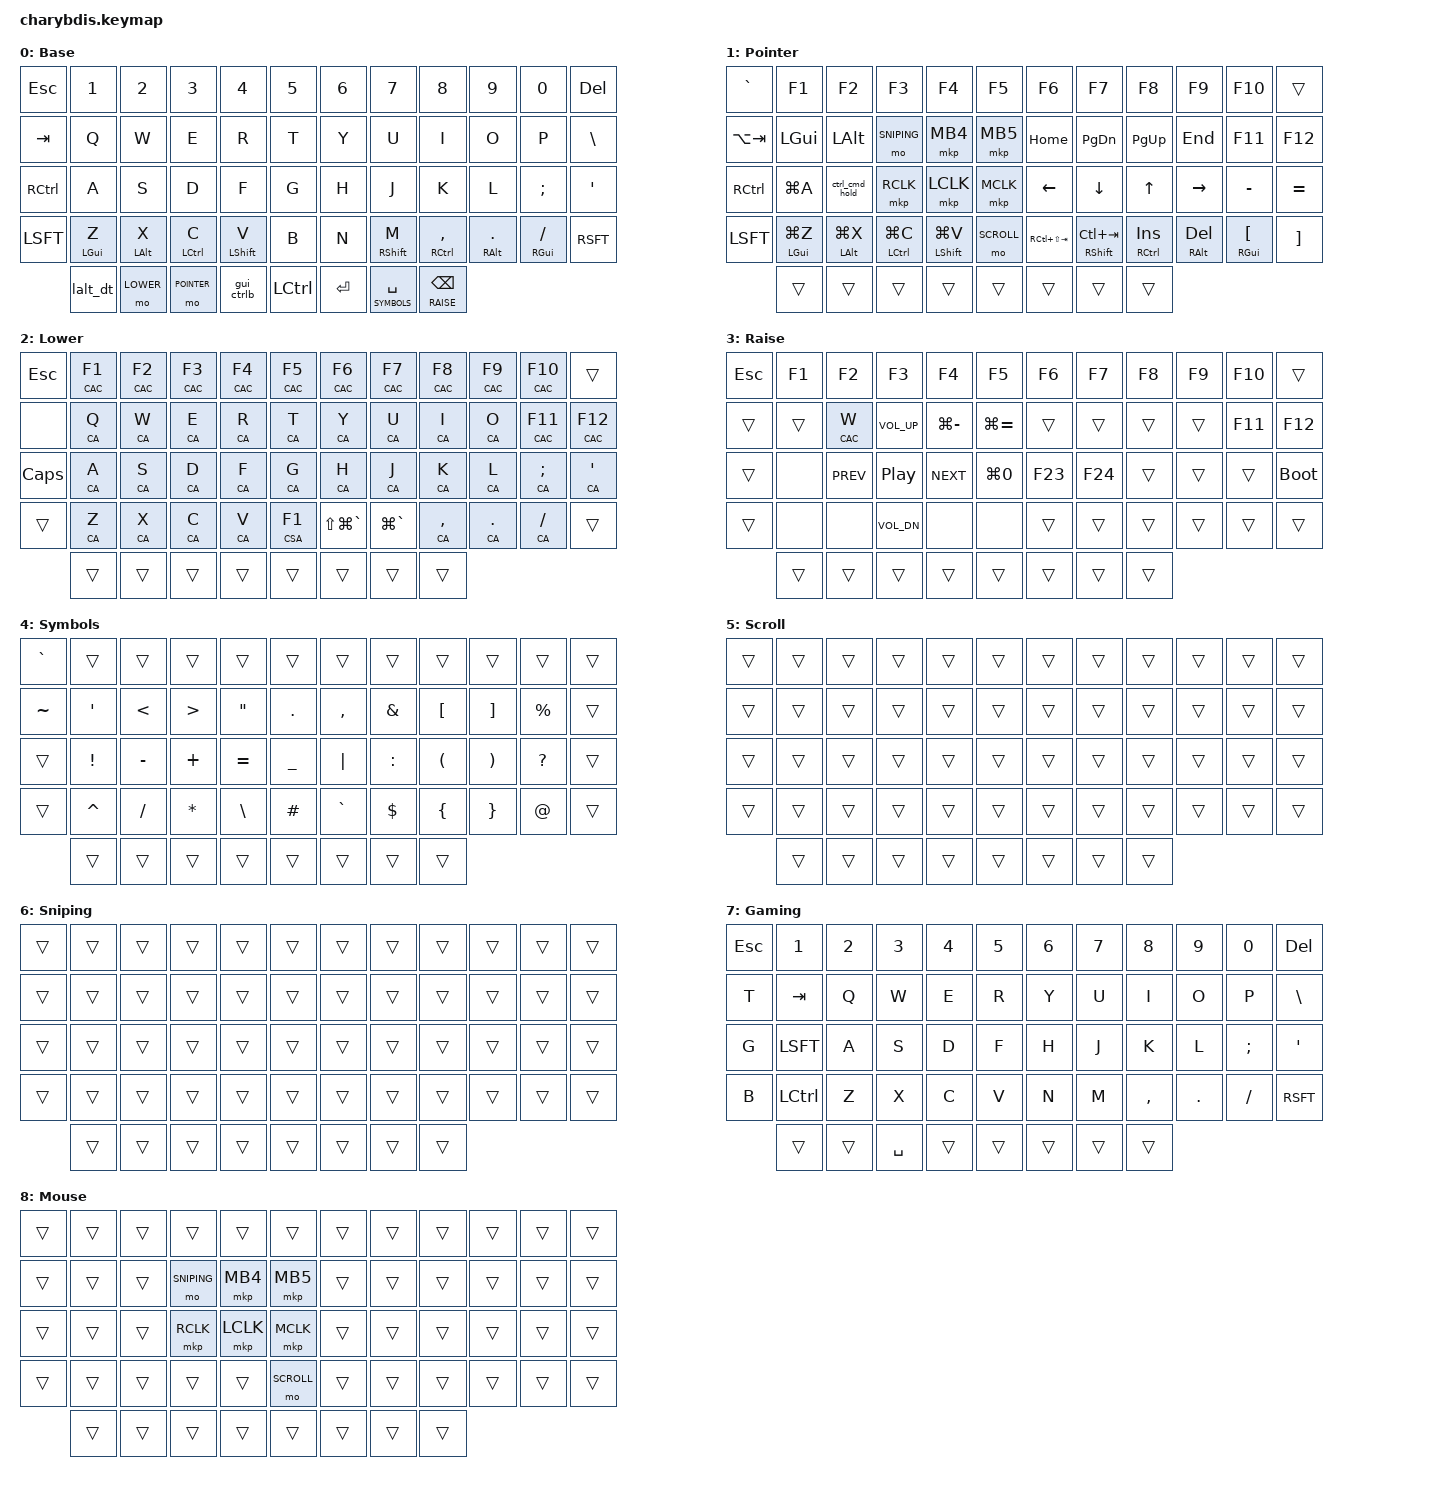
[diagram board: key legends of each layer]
#include <behaviors/mouse_keys.dtsi>
#include <behaviors.dtsi>
#include <dt-bindings/zmk/bt.h>
#include <dt-bindings/zmk/keys.h>
#include <dt-bindings/zmk/modifiers.h>
#include <dt-bindings/zmk/outputs.h>
#include <dt-bindings/zmk/pointing.h>

/ {
    chosen { zmk,physical-layout = &charybdis_6col_layout; };
};

&mt {
    quick-tap-ms = <200>;
    flavor = "tap-preferred";
    tapping-term-ms = <170>;
};

&lt {
    quick-tap-ms = <200>;
    flavor = "tap-preferred";
    tapping-term-ms = <170>;
};

// Layer definitions
#define BASE 0
#define POINTER 1
#define LOWER 2
#define RAISE 3
#define SYMBOLS 4
#define SCROLL 5
#define SNIPING 6
#define GAMING 7
#define AUTOMOUSE 8

/ {
  behaviors {
    // Hold-tap behavior for layer with tap-preferred
    blt: blt {
      compatible = "zmk,behavior-hold-tap";
      #binding-cells = <2>;
      flavor = "tap-preferred";
      tapping-term-ms = <200>;
      quick-tap-ms = <300>;
      require-prior-idle-ms = <100>;
      bindings = <&mo>, <&kp>;
    };

    // Tap-dance for GUI/Ctrl+B
    gui_ctrlb: gui_ctrlb {
      compatible = "zmk,behavior-tap-dance";
      #binding-cells = <0>;
      tapping-term-ms = <200>;
      bindings = <&kp LGUI>, <&kp LC(B)>;
    };

    // Tap/hold Alt, double-tap Ctrl+Shift+Z
    lalt_dt: lalt_dt {
      compatible = "zmk,behavior-tap-dance";
      #binding-cells = <0>;
      tapping-term-ms = <200>;
      bindings = <&kp LALT>, <&kp LC(LS(Z))>;
    };

    // Home row mods - Left hand
    hml: home_row_mod_left {
      compatible = "zmk,behavior-hold-tap";
      #binding-cells = <2>;
      flavor = "balanced";
      require-prior-idle-ms = <150>;
      tapping-term-ms = <280>;
      quick-tap-ms = <175>;
      bindings = <&kp>, <&kp>;
      hold-trigger-key-positions = <6 7 8 9 10 11 18 19 20 21 22 23 30 31 32 33 34 35 42 43 44 45 46 47 53 54 55>; // Right side keys
      hold-trigger-on-release;
    };

    // Home row mods - Right hand
    hmr: home_row_mod_right {
      compatible = "zmk,behavior-hold-tap";
      #binding-cells = <2>;
      flavor = "balanced";
      require-prior-idle-ms = <150>;
      tapping-term-ms = <280>;
      quick-tap-ms = <175>;
      bindings = <&kp>, <&kp>;
      hold-trigger-key-positions = <0 1 2 3 4 5 12 13 14 15 16 17 24 25 26 27 28 29 36 37 38 39 40 41 48 49 50 51 52>; // Left side keys
      hold-trigger-on-release;
    };

    };

  macros {
    // Ctrl+Alt+Cmd macro
    CAC: CAC {
      compatible = "zmk,behavior-macro-one-param";
      #binding-cells = <1>;
      bindings
        = <&macro_press &kp LCTRL &kp LALT &kp LGUI>
        , <&macro_param_1to1>
        , <&macro_tap &kp MACRO_PLACEHOLDER>
        , <&macro_release &kp LCTRL &kp LALT &kp LGUI>
        ;
    };

    // Ctrl+Shift+Alt macro
    CSA: CSA {
      compatible = "zmk,behavior-macro-one-param";
      #binding-cells = <1>;
      bindings
        = <&macro_press &kp LCTRL &kp LSHIFT &kp LALT>
        , <&macro_param_1to1>
        , <&macro_tap &kp MACRO_PLACEHOLDER>
        , <&macro_release &kp LCTRL &kp LSHIFT &kp LALT>
        ;
    };

    // Ctrl+Alt macro
    CA: CA {
      compatible = "zmk,behavior-macro-one-param";
      #binding-cells = <1>;
      bindings
        = <&macro_press &kp LCTRL &kp LALT>
        , <&macro_param_1to1>
        , <&macro_tap &kp MACRO_PLACEHOLDER>
        , <&macro_release &kp LCTRL &kp LALT>
        ;
    };

    // Hold Ctrl+Cmd+Left Click while key is pressed (for mouse drag window actions)
    ctrl_cmd_hold: ctrl_cmd_hold {
      compatible = "zmk,behavior-macro";
      wait-ms = <0>;
      tap-ms = <10>;
      #binding-cells = <0>;
      bindings
        = <&macro_press &kp LCTRL &kp LGUI &mkp LCLK>
        , <&macro_pause_for_release>
        , <&macro_release &mkp LCLK &kp LCTRL &kp LGUI>
        ;
    };
  };

  combos {
    compatible = "zmk,combos";

    // Studio Unlock Combo - all three right thumb keys
    combo_studio_unlock {
      timeout-ms = <50>;
      require-prior-idle-ms = <250>;
      key-positions = <53 54 55>;
      bindings = <&studio_unlock>;
    };

    // Gaming layer toggle combo - keys 49, 55, 54
    combo_gaming_toggle {
      timeout-ms = <50>;
      require-prior-idle-ms = <250>;
      key-positions = <49 55 54>;
      bindings = <&tog GAMING>;
    };
  };

  keymap {
    compatible = "zmk,keymap";

// ╭─────────────┬─────────────┬─────────────┬─────────────┬─────────────┬─────────────╮   ╭─────────────┬─────────────┬─────────────┬─────────────┬─────────────┬─────────────╮
//    0             1             2             3             4             5                 6             7             8             9            10            11
// ├─────────────┼─────────────┼─────────────┼─────────────┼─────────────┼─────────────┤   ├─────────────┼─────────────┼─────────────┼─────────────┼─────────────┼─────────────┤
//   12            13            14            15            16            17                18            19            20            21            22            23
// ├─────────────┼─────────────┼─────────────┼─────────────┼─────────────┼─────────────┤   ├─────────────┼─────────────┼─────────────┼─────────────┼─────────────┼─────────────┤
//   24            25            26            27            28            29                30            31            32            33            34            35
// ├─────────────┼─────────────┼─────────────┼─────────────┼─────────────┼─────────────┤   ├─────────────┼─────────────┼─────────────┼─────────────┼─────────────┼─────────────┤
//   36            37            38            39            40            41                42            43            44            45            46            47
// ╰─────────────┴─────────────┴─────────────┴─────────────┴─────────────┴─────────────╯   ╰─────────────┴─────────────┴─────────────┴─────────────┴─────────────┴─────────────╯
//               ╭─────────────┬─────────────┬─────────────┬─────────────┬─────────────╮   ╭─────────────┬─────────────┬─────────────╮
//                  48            49            50            51            52                53            54            55
//               ╰─────────────┴─────────────┴─────────────┴─────────────┴─────────────╯   ╰─────────────┴─────────────┴─────────────╯
//                                                                         Actual Key Positions
//                                          ╭─────────────┬─────────────┬─────────────╮    ╭─────────────┬─────────────╮
//                                             50           51            48                 55            54
//                                          ╰─────────────┼─────────────┼─────────────┤    ├─────────────┼─────────────╯
//                                                          52            49                 53
//                                                        ╰─────────────┴─────────────╯    ╰─────────────╯

    base_layer {
      label = "BASE";
      display-name = "Base";
      bindings = <
// ╭─────────────┬─────────────┬─────────────┬─────────────┬─────────────┬─────────────╮   ╭─────────────┬─────────────┬─────────────┬─────────────┬─────────────┬─────────────╮
    &kp ESC       &kp N1        &kp N2        &kp N3        &kp N4        &kp N5            &kp N6        &kp N7        &kp N8        &kp N9        &kp N0        &kp DEL
// ├─────────────┼─────────────┼─────────────┼─────────────┼─────────────┼─────────────┤   ├─────────────┼─────────────┼─────────────┼─────────────┼─────────────┼─────────────┤
    &kp TAB       &kp Q         &kp W         &kp E         &kp R         &kp T             &kp Y         &kp U         &kp I         &kp O         &kp P         &kp BSLH
// ├─────────────┼─────────────┼─────────────┼─────────────┼─────────────┼─────────────┤   ├─────────────┼─────────────┼─────────────┼─────────────┼─────────────┼─────────────┤
    &kp RCTRL     &kp A         &kp S         &kp D         &kp F         &kp G             &kp H         &kp J         &kp K         &kp L         &kp SEMI      &kp SQT
// ├─────────────┼─────────────┼─────────────┼─────────────┼─────────────┼─────────────┤   ├─────────────┼─────────────┼─────────────┼─────────────┼─────────────┼─────────────┤
    &kp LSFT      &hml LGUI Z   &hml LALT X   &hml LCTRL C  &hml LSHIFT V &kp B             &kp N         &hmr RSHIFT M &hmr RCTRL COMMA &hmr RALT DOT &hmr RGUI FSLH &kp RSFT
// ╰─────────────┴─────────────┴─────────────┴─────────────┴─────────────┴─────────────╯   ╰─────────────┴─────────────┴─────────────┴─────────────┴─────────────┴─────────────╯
//               ╭─────────────┬─────────────┬─────────────┬─────────────┬─────────────╮   ╭─────────────┬─────────────┬─────────────╮
                  &lalt_dt      &mo LOWER     &mo POINTER   &gui_ctrlb    &kp LCTRL         &kp RET      &blt SYMBOLS SPACE  &blt RAISE BSPC
//               ╰─────────────┴─────────────┴─────────────┴─────────────┴─────────────╯   ╰─────────────┴─────────────┴─────────────╯
      >;
    };

    pointer_layer {
      label = "POINTER";
      display-name = "Pointer";
      bindings = <
// ╭─────────────┬─────────────┬─────────────┬─────────────┬─────────────┬─────────────╮   ╭─────────────┬─────────────┬─────────────┬─────────────┬─────────────┬─────────────╮
    &kp GRAVE     &kp F1        &kp F2        &kp F3        &kp F4        &kp F5            &kp F6        &kp F7        &kp F8        &kp F9        &kp F10       &trans
// ├─────────────┼─────────────┼─────────────┼─────────────┼─────────────┼─────────────┤   ├─────────────┼─────────────┼─────────────┼─────────────┼─────────────┼─────────────┤
    &kp LA(TAB)   &kp LGUI      &kp LALT      &mo SNIPING   &mkp MB4      &mkp MB5          &kp HOME      &kp PG_DN     &kp PG_UP     &kp END       &kp F11       &kp F12
// ├─────────────┼─────────────┼─────────────┼─────────────┼─────────────┼─────────────┤   ├─────────────┼─────────────┼─────────────┼─────────────┼─────────────┼─────────────┤
    &kp RCTRL     &kp LG(A)     &ctrl_cmd_hold &mkp RCLK    &mkp LCLK     &mkp MCLK         &kp LEFT      &kp DOWN      &kp UP        &kp RIGHT     &kp MINUS     &kp EQUAL
// ├─────────────┼─────────────┼─────────────┼─────────────┼─────────────┼─────────────┤   ├─────────────┼─────────────┼─────────────┼─────────────┼─────────────┼─────────────┤
    &kp LSFT      &hml LGUI LG(Z) &hml LALT LG(X) &hml LCTRL LG(C) &hml LSHIFT LG(V) &mo SCROLL    &kp RC(LS(TAB)) &hmr RSHIFT LC(TAB) &hmr RCTRL INS &hmr RALT DEL &hmr RGUI LBKT &kp RBKT
// ╰─────────────┴─────────────┴─────────────┴─────────────┴─────────────┴─────────────╯   ╰─────────────┴─────────────┴─────────────┴─────────────┴─────────────┴─────────────╯
//               ╭─────────────┬─────────────┬─────────────┬─────────────┬─────────────╮   ╭─────────────┬─────────────┬─────────────╮
                  &trans        &trans        &trans        &trans        &trans            &trans        &trans        &trans
//               ╰─────────────┴─────────────┴─────────────┴─────────────┴─────────────╯   ╰─────────────┴─────────────┴─────────────╯
      >;
    };

    lower_layer {
      label = "LOWER";
      display-name = "Lower";
      bindings = <
// ╭─────────────┬─────────────┬─────────────┬─────────────┬─────────────┬─────────────╮   ╭─────────────┬─────────────┬─────────────┬─────────────┬─────────────┬─────────────╮
    &kp ESC       &CAC F1       &CAC F2       &CAC F3       &CAC F4       &CAC F5           &CAC F6       &CAC F7       &CAC F8       &CAC F9       &CAC F10      &trans
// ├─────────────┼─────────────┼─────────────┼─────────────┼─────────────┼─────────────┤   ├─────────────┼─────────────┼─────────────┼─────────────┼─────────────┼─────────────┤
    &none         &CA Q         &CA W         &CA E         &CA R         &CA T             &CA Y         &CA U         &CA I         &CA O         &CAC F11      &CAC F12
// ├─────────────┼─────────────┼─────────────┼─────────────┼─────────────┼─────────────┤   ├─────────────┼─────────────┼─────────────┼─────────────┼─────────────┼─────────────┤
    &kp CAPS      &CA A         &CA S         &CA D         &CA F         &CA G             &CA H         &CA J         &CA K         &CA L         &CA SEMI      &CA SQT
// ├─────────────┼─────────────┼─────────────┼─────────────┼─────────────┼─────────────┤   ├─────────────┼─────────────┼─────────────┼─────────────┼─────────────┼─────────────┤
    &trans        &CA Z         &CA X         &CA C         &CA V         &CSA F1           &kp LS(LG(GRAVE)) &kp LG(GRAVE) &CA COMMA     &CA DOT       &CA FSLH      &trans
// ╰─────────────┴─────────────┴─────────────┴─────────────┴─────────────┴─────────────╯   ╰─────────────┴─────────────┴─────────────┴─────────────┴─────────────┴─────────────╯
//               ╭─────────────┬─────────────┬─────────────┬─────────────┬─────────────╮   ╭─────────────┬─────────────┬─────────────╮
                  &trans        &trans        &trans        &trans        &trans            &trans        &trans        &trans
//               ╰─────────────┴─────────────┴─────────────┴─────────────┴─────────────╯   ╰─────────────┴─────────────┴─────────────╯
      >;
    };

    raise_layer {
      label = "RAISE";
      display-name = "Raise";
      bindings = <
// ╭─────────────┬─────────────┬─────────────┬─────────────┬─────────────┬─────────────╮   ╭─────────────┬─────────────┬─────────────┬─────────────┬─────────────┬─────────────╮
    &kp ESC       &kp F1        &kp F2        &kp F3        &kp F4        &kp F5            &kp F6        &kp F7        &kp F8        &kp F9        &kp F10       &trans
// ├─────────────┼─────────────┼─────────────┼─────────────┼─────────────┼─────────────┤   ├─────────────┼─────────────┼─────────────┼─────────────┼─────────────┼─────────────┤
    &trans        &trans       &CAC W        &kp C_VOL_UP  &kp LG(MINUS) &kp LG(EQUAL)     &trans        &trans        &trans        &trans        &kp F11       &kp F12
// ├─────────────┼─────────────┼─────────────┼─────────────┼─────────────┼─────────────┤   ├─────────────┼─────────────┼─────────────┼─────────────┼─────────────┼─────────────┤
    &trans        &none         &kp C_PREV    &kp C_PP      &kp C_NEXT    &kp LG(N0)        &kp F23       &kp F24       &trans        &trans        &trans        &bootloader
// ├─────────────┼─────────────┼─────────────┼─────────────┼─────────────┼─────────────┤   ├─────────────┼─────────────┼─────────────┼─────────────┼─────────────┼─────────────┤
    &trans        &none         &none         &kp C_VOL_DN  &none         &none             &trans        &trans        &trans        &trans        &trans        &trans
// ╰─────────────┴─────────────┴─────────────┴─────────────┴─────────────┴─────────────╯   ╰─────────────┴─────────────┴─────────────┴─────────────┴─────────────┴─────────────╯
//               ╭─────────────┬─────────────┬─────────────┬─────────────┬─────────────╮   ╭─────────────┬─────────────┬─────────────╮
                    &trans        &trans        &trans        &trans        &trans            &trans        &trans        &trans
//               ╰─────────────┴─────────────┴─────────────┴─────────────┴─────────────╯   ╰─────────────┴─────────────┴─────────────╯
      >;
    };

    symbols_layer {
      label = "SYMBOLS";
      display-name = "Symbols";
      bindings = <
// ╭─────────────┬─────────────┬─────────────┬─────────────┬─────────────┬─────────────╮   ╭─────────────┬─────────────┬─────────────┬─────────────┬─────────────┬─────────────╮
    &kp GRAVE     &trans        &trans        &trans        &trans        &trans            &trans        &trans        &trans        &trans        &trans        &trans
// ├─────────────┼─────────────┼─────────────┼─────────────┼─────────────┼─────────────┤   ├─────────────┼─────────────┼─────────────┼─────────────┼─────────────┼─────────────┤
    &kp TILDE     &kp SQT       &kp LT        &kp GT        &kp DQT       &kp DOT           &kp COMMA     &kp AMPS      &kp LBKT      &kp RBKT      &kp PRCNT     &trans
// ├─────────────┼─────────────┼─────────────┼─────────────┼─────────────┼─────────────┤   ├─────────────┼─────────────┼─────────────┼─────────────┼─────────────┼─────────────┤
    &trans        &kp EXCL      &kp MINUS     &kp PLUS      &kp EQUAL     &kp UNDER         &kp PIPE      &kp COLON     &kp LPAR      &kp RPAR      &kp QMARK     &trans
// ├─────────────┼─────────────┼─────────────┼─────────────┼─────────────┼─────────────┤   ├─────────────┼─────────────┼─────────────┼─────────────┼─────────────┼─────────────┤
    &trans        &kp CARET     &kp FSLH      &kp ASTRK     &kp BSLH      &kp HASH          &kp GRAVE     &kp DLLR      &kp LBRC      &kp RBRC      &kp AT        &trans
// ╰─────────────┴─────────────┴─────────────┴─────────────┴─────────────┴─────────────╯   ╰─────────────┴─────────────┴─────────────┴─────────────┴─────────────┴─────────────╯
//               ╭─────────────┬─────────────┬─────────────┬─────────────┬─────────────╮   ╭─────────────┬─────────────┬─────────────╮
                    &trans        &trans        &trans        &trans        &trans            &trans        &trans        &trans
//               ╰─────────────┴─────────────┴─────────────┴─────────────┴─────────────╯   ╰─────────────┴─────────────┴─────────────╯
      >;
    };

    scroll_layer {
      label = "SCROLL";
      display-name = "Scroll";
      bindings = <
// ╭─────────────┬─────────────┬─────────────┬─────────────┬─────────────┬─────────────╮   ╭─────────────┬─────────────┬─────────────┬─────────────┬─────────────┬─────────────╮
    &trans        &trans        &trans        &trans        &trans        &trans            &trans        &trans        &trans        &trans        &trans        &trans
// ├─────────────┼─────────────┼─────────────┼─────────────┼─────────────┼─────────────┤   ├─────────────┼─────────────┼─────────────┼─────────────┼─────────────┼─────────────┤
    &trans        &trans        &trans        &trans        &trans        &trans            &trans        &trans        &trans        &trans        &trans        &trans
// ├─────────────┼─────────────┼─────────────┼─────────────┼─────────────┼─────────────┤   ├─────────────┼─────────────┼─────────────┼─────────────┼─────────────┼─────────────┤
    &trans        &trans        &trans        &trans        &trans        &trans            &trans        &trans        &trans        &trans        &trans        &trans
// ├─────────────┼─────────────┼─────────────┼─────────────┼─────────────┼─────────────┤   ├─────────────┼─────────────┼─────────────┼─────────────┼─────────────┼─────────────┤
    &trans        &trans        &trans        &trans        &trans        &trans            &trans        &trans        &trans        &trans        &trans        &trans
// ╰─────────────┴─────────────┴─────────────┴─────────────┴─────────────┴─────────────╯   ╰─────────────┴─────────────┴─────────────┴─────────────┴─────────────┴─────────────╯
//               ╭─────────────┬─────────────┬─────────────┬─────────────┬─────────────╮   ╭─────────────┬─────────────┬─────────────╮
                    &trans        &trans        &trans        &trans        &trans            &trans        &trans        &trans
//               ╰─────────────┴─────────────┴─────────────┴─────────────┴─────────────╯   ╰─────────────┴─────────────┴─────────────╯
      >;
    };

    sniping_layer {
      label = "SNIPING";
      display-name = "Sniping";
      bindings = <
// ╭─────────────┬─────────────┬─────────────┬─────────────┬─────────────┬─────────────╮   ╭─────────────┬─────────────┬─────────────┬─────────────┬─────────────┬─────────────╮
    &trans        &trans        &trans        &trans        &trans        &trans            &trans        &trans        &trans        &trans        &trans        &trans
// ├─────────────┼─────────────┼─────────────┼─────────────┼─────────────┼─────────────┤   ├─────────────┼─────────────┼─────────────┼─────────────┼─────────────┼─────────────┤
    &trans        &trans        &trans        &trans        &trans        &trans            &trans        &trans        &trans        &trans        &trans        &trans
// ├─────────────┼─────────────┼─────────────┼─────────────┼─────────────┼─────────────┤   ├─────────────┼─────────────┼─────────────┼─────────────┼─────────────┼─────────────┤
    &trans        &trans        &trans        &trans        &trans        &trans            &trans        &trans        &trans        &trans        &trans        &trans
// ├─────────────┼─────────────┼─────────────┼─────────────┼─────────────┼─────────────┤   ├─────────────┼─────────────┼─────────────┼─────────────┼─────────────┼─────────────┤
    &trans        &trans        &trans        &trans        &trans        &trans            &trans        &trans        &trans        &trans        &trans        &trans
// ╰─────────────┴─────────────┴─────────────┴─────────────┴─────────────┴─────────────╯   ╰─────────────┴─────────────┴─────────────┴─────────────┴─────────────┴─────────────╯
//               ╭─────────────┬─────────────┬─────────────┬─────────────┬─────────────╮   ╭─────────────┬─────────────┬─────────────╮
                    &trans        &trans        &trans        &trans        &trans            &trans        &trans        &trans
//               ╰─────────────┴─────────────┴─────────────┴─────────────┴─────────────╯   ╰─────────────┴─────────────┴─────────────╯
      >;
    };

    gaming_layer {
      label = "GAMING";
      display-name = "Gaming";
      bindings = <
// ╭─────────────┬─────────────┬─────────────┬─────────────┬─────────────┬─────────────╮   ╭─────────────┬─────────────┬─────────────┬─────────────┬─────────────┬─────────────╮
    &kp ESC       &kp N1       &kp N2        &kp N3        &kp N4        &kp N5            &kp N6        &kp N7        &kp N8        &kp N9        &kp N0        &kp DEL
// ├─────────────┼─────────────┼─────────────┼─────────────┼─────────────┼─────────────┤   ├─────────────┼─────────────┼─────────────┼─────────────┼─────────────┼─────────────┤
    &kp T        &kp TAB       &kp Q         &kp W         &kp E         &kp R             &kp Y         &kp U         &kp I         &kp O         &kp P         &kp BSLH
// ├─────────────┼─────────────┼─────────────┼─────────────┼─────────────┼─────────────┤   ├─────────────┼─────────────┼─────────────┼─────────────┼─────────────┼─────────────┤
    &kp G        &kp LSFT      &kp A         &kp S         &kp D         &kp F             &kp H         &kp J         &kp K         &kp L         &kp SEMI      &kp SQT
// ├─────────────┼─────────────┼─────────────┼─────────────┼─────────────┼─────────────┤   ├─────────────┼─────────────┼─────────────┼─────────────┼─────────────┼─────────────┤
    &kp B        &kp LCTRL     &kp Z         &kp X         &kp C         &kp V             &kp N         &kp M         &kp COMMA     &kp DOT       &kp FSLH      &kp RSFT
// ╰─────────────┴─────────────┴─────────────┴─────────────┴─────────────┴─────────────╯   ╰─────────────┴─────────────┴─────────────┴─────────────┴─────────────┴─────────────╯
//               ╭─────────────┬─────────────┬─────────────┬─────────────┬─────────────╮   ╭─────────────┬─────────────┬─────────────╮
                  &trans        &trans        &kp SPACE     &trans        &trans            &trans        &trans        &trans
//               ╰─────────────┴─────────────┴─────────────┴─────────────┴─────────────╯   ╰─────────────┴─────────────┴─────────────╯
      >;
    };

    automouse_layer {
      label = "AUTOMOUSE";
      display-name = "Mouse";
      bindings = <
    &trans         &trans         &trans         &trans         &trans         &trans         &trans         &trans         &trans         &trans         &trans         &trans
    &trans         &trans         &trans         &mo SNIPING    &mkp MB4       &mkp MB5       &trans         &trans         &trans         &trans         &trans         &trans
    &trans         &trans         &trans         &mkp RCLK      &mkp LCLK      &mkp MCLK      &trans         &trans         &trans         &trans         &trans         &trans
    &trans         &trans         &trans         &trans         &trans         &mo SCROLL     &trans         &trans         &trans         &trans         &trans         &trans
                  &trans         &trans         &trans         &trans         &trans      &trans         &trans         &trans
      >;
    };
  };
};
